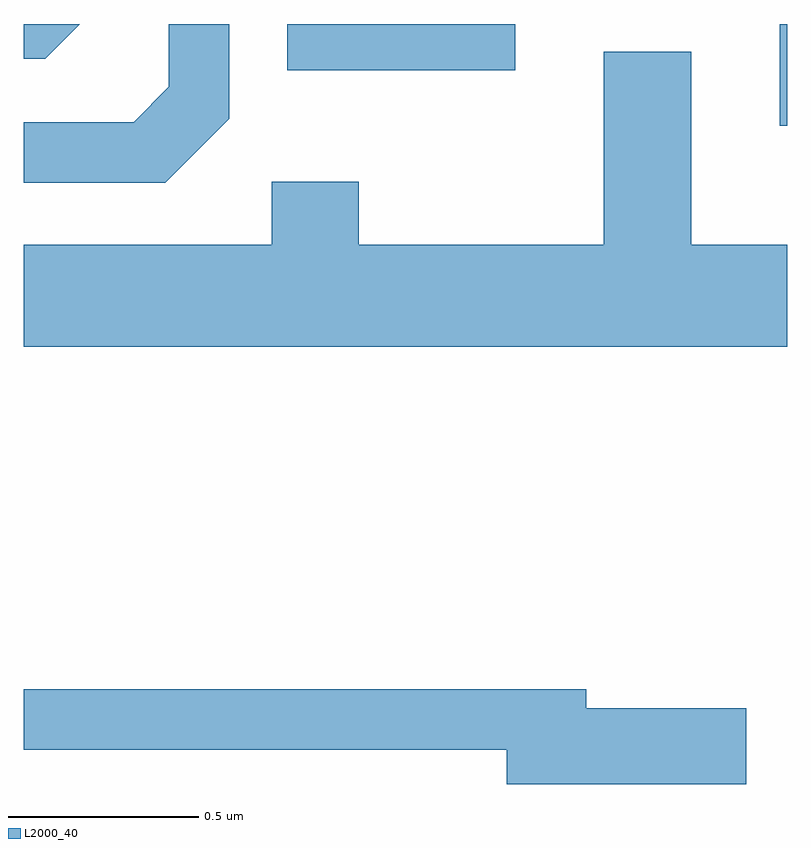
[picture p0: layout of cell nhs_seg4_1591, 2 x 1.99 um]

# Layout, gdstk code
import gdstk
lib = gdstk.Library(unit=1e-6, precision=1e-09)
def R(c, l, rs):  # rectangles x0, y0, x1, y1
    for r in rs: c.add(gdstk.rectangle(r[:2], r[2:], *l))
def P(c, l, *ps):  # polygons
    for p in ps: c.add(gdstk.Polygon(p, *l))
L2000_40 = (2000, 40)

nhs_seg4_1591 = lib.new_cell('nhs_seg4_1591')
R(nhs_seg4_1591, L2000_40, [(198.591,1339.716,198.611,1339.982), (197.301,1339.861,197.899,1339.982)])
P(nhs_seg4_1591, L2000_40, [(196.757,1339.982),(196.611,1339.982),(196.611,1339.891),(196.667,1339.891)],
  [(197.149,1339.734),(197.149,1339.982),(196.991,1339.982),(196.991,1339.817),(196.899,1339.724),(196.611,1339.724),(196.611,1339.566),(196.982,1339.566)],
  [(198.611,1339.404),(198.359,1339.404),(198.359,1339.909),(198.131,1339.909),(198.131,1339.404),(197.489,1339.404),(197.489,1339.569),(197.261,1339.569),(197.261,1339.404),(196.611,1339.404),(196.611,1339.136),(198.611,1339.136)],
  [(198.504,1338.189),(198.084,1338.189),(198.084,1338.239),(196.611,1338.239),(196.611,1338.081),(197.876,1338.081),(197.876,1337.991),(198.504,1337.991)])

lib.write_gds('nhs_seg4_1591.gds')
